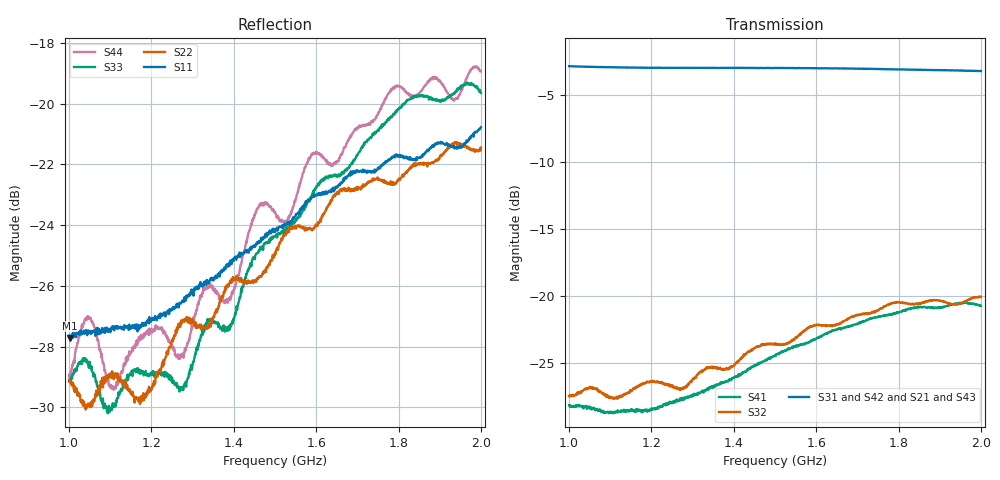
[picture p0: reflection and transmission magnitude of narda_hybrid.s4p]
#  HZ  S  DB  R  50.00
! Rohde & Schwarz Vector Network Analyzer
! Rohde-Schwarz,ZNB8-4Port,1311601044102961,2.82
! Created: UTC 3/4/2022, 3:39:58 PM
! freq[Hz]  db:S11  ang:S11  db:S12  ang:S12  db:S13  ang:S13  db:S14  ang:S14
!  db:S21  ang:S21  db:S22  ang:S22  db:S23  ang:S23  db:S24  ang:S24
!  db:S31  ang:S31  db:S32  ang:S32  db:S33  ang:S33  db:S34  ang:S34
!  db:S41  ang:S41  db:S42  ang:S42  db:S43  ang:S43  db:S44  ang:S44
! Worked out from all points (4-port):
!   1001 points, 1 GHz to 2 GHz, reference 50 ohm
!   strongest paths, dB at 1 GHz, 1.25 GHz, 1.5 GHz, 1.75 GHz, 2 GHz:
!     S31: -2.8, -3.0, -3.0, -3.1, -3.2
!     S42: -2.8, -3.0, -3.0, -3.0, -3.2
!     S21: -3.3, -3.2, -3.2, -3.2, -3.1
!     S43: -3.3, -3.2, -3.2, -3.2, -3.1
!     S32: -27.5, -26.7, -23.6, -21.1, -20.1
!     S41: -28.2, -27.9, -24.5, -21.6, -20.8
!   lowest |S11| = -27.7 dB at 1.001 GHz (marker M1), VSWR 1.09, Z = 52.9 - j3.11 ohm
!   |S11| at or under -10 dB: start of sweep to end of sweep
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1e9  -27.64 -44.7  -3.29 -162.7  -2.84 109.5  -28.23 172.3
     -3.30 -162.6  -29.08 -49.0  -27.47 172.4  -2.83 110.8
     -2.84 109.5  -27.49 173.3  -29.14 -36.3  -3.28 -157.3
     -28.17 172.6  -2.83 110.8  -3.28 -157.3  -28.99 -47.3
1.001e9  -27.72 -45.6  -3.31 -162.9  -2.84 109.2  -28.19 172.2
         -3.30 -162.9  -29.13 -49.1  -27.50 172.9  -2.82 110.6
         -2.84 109.2  -27.54 173.1  -29.10 -36.3  -3.28 -157.5
         -28.16 172.1  -2.83 110.6  -3.28 -157.5  -28.90 -47.3
1.222e9  -26.91 -115.1  -3.20 145.2  -2.96 57.6  -28.28 140.6
         -3.20 145.2  -28.81 -117.9  -26.49 134.2  -3.00 59.4
         -2.95 57.5  -26.48 134.3  -28.87 -116.9  -3.23 151.8
         -28.27 140.3  -3.01 59.4  -3.23 151.8  -27.40 -106.3
1.479e9  -24.36 168.4  -3.23 83.8  -2.97 -3.7  -24.78 96.1
         -3.22 83.8  -25.39 164.0  -23.63 87.6  -2.98 -1.3
         -2.97 -3.7  -23.65 87.8  -24.59 167.0  -3.23 91.4
         -24.82 96.1  -2.97 -1.3  -3.22 91.4  -23.27 -179.3
1.611e9  -22.99 134.9  -3.24 52.0  -2.99 -35.5  -23.04 64.6
         -3.24 51.9  -23.89 133.6  -22.22 56.0  -2.99 -33.0
         -2.99 -35.6  -22.20 56.1  -22.53 135.0  -3.23 59.9
         -23.04 64.7  -2.98 -32.9  -3.23 59.9  -21.66 151.4
1.756e9  -22.10 103.4  -3.22 16.8  -3.05 -70.6  -21.55 26.0
         -3.22 16.8  -22.53 99.4  -20.97 21.4  -3.03 -67.9
         -3.05 -70.6  -20.96 21.6  -20.80 108.4  -3.21 25.0
         -21.57 25.8  -3.03 -67.9  -3.21 25.0  -20.16 114.0
2e9  -20.78 55.3  -3.12 -42.4  -3.20 -129.1  -20.75 -42.9
     -3.12 -42.4  -21.45 50.9  -20.09 -45.5  -3.18 -126.0
     -3.20 -129.1  -20.09 -45.4  -19.65 61.5  -3.13 -33.1
     -20.75 -42.9  -3.18 -126.0  -3.13 -33.1  -18.95 64.4
